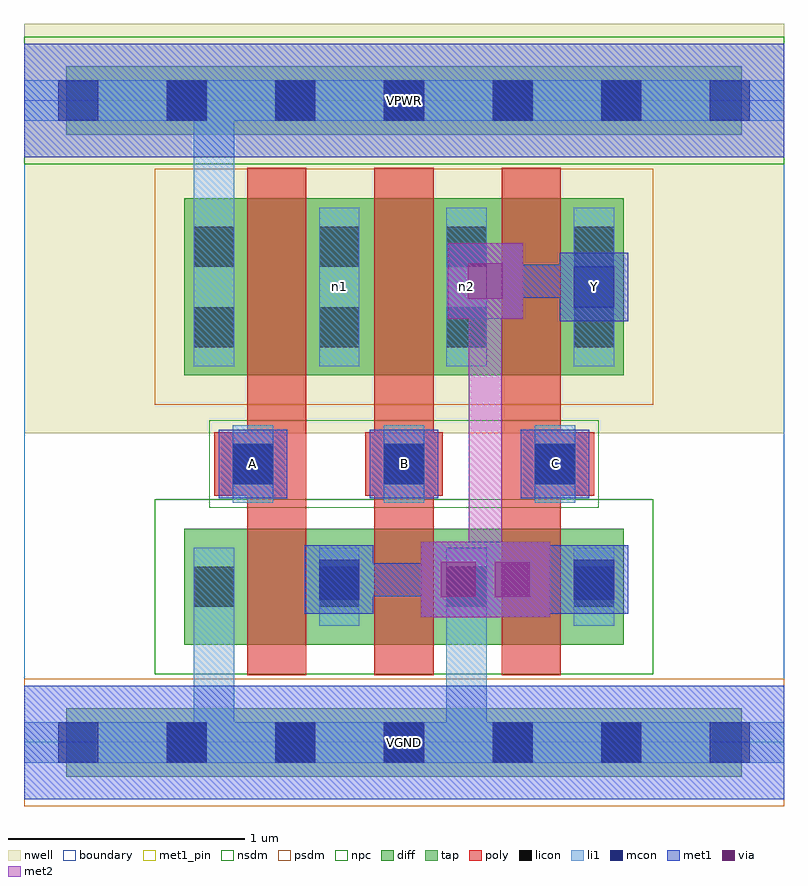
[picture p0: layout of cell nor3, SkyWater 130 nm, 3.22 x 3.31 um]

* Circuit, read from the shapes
.subckt nor3 A B C VGND VPWR Y n1 n2
XM1 Y A VGND VGND sky130_fd_pr__nfet_01v8 w=0.49 l=0.25
XM2 VGND B Y VGND sky130_fd_pr__nfet_01v8 w=0.49 l=0.25
XM3 Y C VGND VGND sky130_fd_pr__nfet_01v8 w=0.49 l=0.25
XM4 n1 A VPWR VPWR sky130_fd_pr__pfet_01v8 w=0.75 l=0.25
XM5 n2 B n1 VPWR sky130_fd_pr__pfet_01v8 w=0.75 l=0.25
XM6 Y C n2 VPWR sky130_fd_pr__pfet_01v8 w=0.75 l=0.25
.ends

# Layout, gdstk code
import gdstk
lib = gdstk.Library(unit=1e-6, precision=1e-09)
def R(c, l, rs):  # rectangles x0, y0, x1, y1
    for r in rs: c.add(gdstk.rectangle(r[:2], r[2:], *l))
def A(c, l, x, y, w, h, nx, ny, dx, dy):  # array of equal rectangles
    R(c, l, [(x+i*dx, y+j*dy, x+i*dx+w, y+j*dy+h) for i in range(nx) for j in range(ny)])
nwell = (64, 20)
diff = (65, 20)
tap = (65, 44)
poly = (66, 20)
licon = (66, 44)
li1 = (67, 20)
mcon = (67, 44)
met1_pin = (68, 16)
met1 = (68, 20)
via = (68, 44)
met2 = (69, 20)
nsdm = (93, 44)
psdm = (94, 20)
npc = (95, 20)
boundary = (235, 4)

nor3 = lib.new_cell('nor3')
R(nor3, nwell, [(0,1.31,3.22,3.045)])
R(nor3, diff, [(0.68,0.415,2.54,0.905), (0.68,1.555,2.54,2.305)])
R(nor3, tap, [(0.18,-0.145,3.04,0.145), (0.18,2.575,3.04,2.865)])
A(nor3, poly, 0.945, 0.285, 0.25, 2.15, 3, 1, 0.54, 0)
A(nor3, poly, 0.805, 1.045, 0.33, 0.27, 3, 1, 0.64, 0)
A(nor3, licon, 0.605, -0.085, 0.17, 0.17, 5, 2, 0.46, 2.72)
A(nor3, licon, 1.25, 0.575, 0.17, 0.17, 3, 2, 0.54, 1.1)
A(nor3, licon, 0.885, 1.095, 0.17, 0.17, 3, 1, 0.64, 0)
A(nor3, licon, 1.25, 2.015, 0.17, 0.17, 3, 1, 0.54, 0)
R(nor3, licon, [(0.72,0.575,0.89,0.745), (0.72,1.675,0.89,1.845), (0.72,2.015,0.89,2.185)])
A(nor3, li1, 1.25, 0.495, 0.17, 0.33, 3, 1, 0.54, 0)
A(nor3, li1, 0.885, 1.015, 0.17, 0.33, 3, 1, 0.64, 0)
A(nor3, li1, 1.25, 1.595, 0.17, 0.67, 3, 1, 0.54, 0)
R(nor3, li1, [(0,-0.085,3.22,0.085), (0.72,-0.085,0.89,0.825), (1.79,-0.085,1.96,0.825), (0.72,0.495,0.89,0.825), (0.72,1.595,0.89,2.265), (0.72,1.595,0.89,2.805), (0,2.635,3.22,2.805)])
A(nor3, mcon, 0.145, -0.085, 0.17, 0.17, 7, 2, 0.46, 2.72)
A(nor3, mcon, 0.885, 1.095, 0.17, 0.17, 3, 1, 0.64, 0)
R(nor3, mcon, [(1.25,0.605,1.42,0.775), (2.33,0.605,2.5,0.775), (2.33,1.845,2.5,2.015)])
A(nor3, met1_pin, 0.825, 1.035, 0.29, 0.29, 3, 1, 0.64, 0)
R(nor3, met1_pin, [(0,-0.24,3.22,0.24), (2.27,1.785,2.56,2.075), (0,2.48,3.22,2.96)])
A(nor3, met1, 0.825, 1.035, 0.29, 0.29, 3, 1, 0.64, 0)
R(nor3, met1, [(0,-0.24,3.22,0.24), (1.68,0.53,2,0.85), (1.91,0.53,2.23,0.85), (1.19,0.545,1.48,0.835), (2.23,0.545,2.27,0.835), (2.27,0.545,2.56,0.835), (1.265,0.62,1.565,0.76), (1.425,0.62,1.91,0.76), (2,0.62,2.485,0.76), (2.27,1.785,2.56,2.075), (1.795,1.795,2.115,2.115), (1.885,1.885,2.485,2.025), (2.345,1.885,2.485,2.025), (0,2.48,3.22,2.96)])
R(nor3, via, [(1.765,0.615,1.915,0.765), (1.995,0.615,2.145,0.765), (1.88,1.88,2.03,2.03)])
R(nor3, met2, [(1.68,0.53,2,0.85), (1.91,0.53,2.23,0.85), (1.77,0.62,2.14,0.76), (1.885,0.62,2.025,2.025), (1.795,1.795,2.115,2.115)])
R(nor3, nsdm, [(0.555,0.29,2.665,1.03), (0,2.45,3.22,2.99)])
R(nor3, psdm, [(0,-0.27,3.22,0.27), (0.555,1.43,2.665,2.43)])
R(nor3, npc, [(0.785,0.995,2.435,1.365)])
R(nor3, boundary, [(0,0,3.22,2.72)])
nor3.add(gdstk.Label('n1', (1.335,1.93), layer=67, texttype=5))
nor3.add(gdstk.Label('n2', (1.875,1.93), layer=67, texttype=5))
nor3.add(gdstk.Label('A', (0.97,1.18), layer=68, texttype=5))
nor3.add(gdstk.Label('B', (1.61,1.18), layer=68, texttype=5))
nor3.add(gdstk.Label('C', (2.25,1.18), layer=68, texttype=5))
nor3.add(gdstk.Label('Y', (2.415,1.93), layer=68, texttype=5))
nor3.add(gdstk.Label('VPWR', (1.61,2.72), layer=68, texttype=5))
nor3.add(gdstk.Label('VGND', (1.61,0), layer=68, texttype=5))
nor3.add(gdstk.Label('A', (0.97,1.18), layer=68, texttype=16))
nor3.add(gdstk.Label('B', (1.61,1.18), layer=68, texttype=16))
nor3.add(gdstk.Label('C', (2.25,1.18), layer=68, texttype=16))
nor3.add(gdstk.Label('Y', (2.415,1.93), layer=68, texttype=16))
nor3.add(gdstk.Label('VPWR', (1.61,2.72), layer=68, texttype=16))
nor3.add(gdstk.Label('VGND', (1.61,0), layer=68, texttype=16))

lib.write_gds('nor3.gds')
